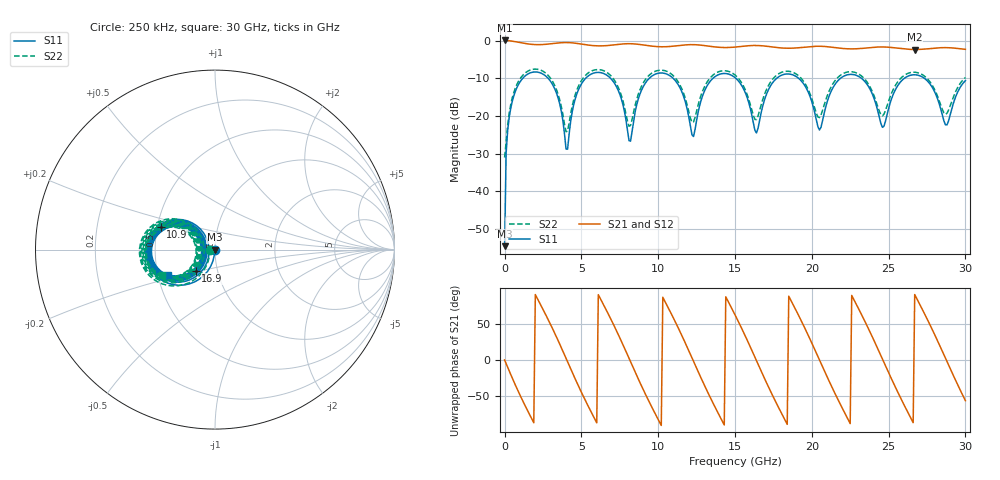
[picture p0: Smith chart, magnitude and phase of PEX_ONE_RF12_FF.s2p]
! Port 1 = P1 P2
! Port 2 = P2 P2
# hz S ri R 50
! freq  reS11  imS11  reS21  imS21  reS12  imS12  reS22  imS22
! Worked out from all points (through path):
!   301 points, 250 kHz to 30 GHz, reference 50 ohm
!   highest |S21| = 0.13 dB at 250 kHz (marker M1); lowest = -2.3 dB at 26.7 GHz (marker M2)
!   lowest |S11| = -54.7 dB at 250 kHz (marker M3), VSWR 1.00, Z = 49.8 - j0.00976 ohm
!   |S11| at or under -10 dB: 15.07 GHz to 17.7 GHz (2.634 GHz wide, 16.1 % of centre); 19.15 GHz to 21.86 GHz (2.702 GHz wide, 13.2 % of centre); 23.25 GHz to 26.01 GHz (2.764 GHz wide, 11.2 % of centre)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
!   |S22| runs from -31.0 to -7.5 dB; largest |S21 - S12| = 0
!   S11 on the Smith chart (normalised r, x): 250 kHz: 1.00, -0.00; 10.9 GHz: 0.52, +0.15; 16.9 GHz: 0.79, -0.19; 30 GHz: 0.57, -0.17
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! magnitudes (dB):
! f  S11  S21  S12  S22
! 250 kHz  -54.7  0.1  0.1  -31.0
! 100.2 MHz  -29.8  0.1  0.1  -26.9
! 200.2 MHz  -23.8  0.1  0.1  -22.4
! 800.2 MHz  -12.4  -0.3  -0.3  -11.6
! 2.9 GHz  -10.3  -0.8  -0.8  -9.5
! 4.1 GHz  -28.8  -0.4  -0.4  -24.0
! 5.1 GHz  -10.8  -0.9  -0.9  -10.0
! 7 GHz  -10.4  -1.1  -1.1  -9.7
! 8.2 GHz  -26.7  -0.7  -0.7  -22.5
! 10.1 GHz  -8.6  -1.5  -1.5  -7.8
! 10.9 GHz  -9.7  -1.4  -1.4  -9.0
! 12.3 GHz  -25.4  -1.0  -1.0  -21.6
! 13.3 GHz  -11.2  -1.4  -1.4  -10.3
! 15.1 GHz  -10.1  -1.6  -1.6  -9.4
! 16.4 GHz  -24.5  -1.2  -1.2  -20.9
! 16.9 GHz  -16.0  -1.3  -1.3  -14.5
! 20.1 GHz  -17.6  -1.4  -1.4  -16.6
! 22.5 GHz  -8.9  -2.1  -2.1  -8.2
! 25.1 GHz  -16.5  -1.7  -1.7  -14.9
! 26.7 GHz  -9.0  -2.3  -2.3  -8.3
! 28.7 GHz  -22.3  -1.8  -1.8  -19.5
! 30 GHz  -10.6  -2.2  -2.2  -9.7
